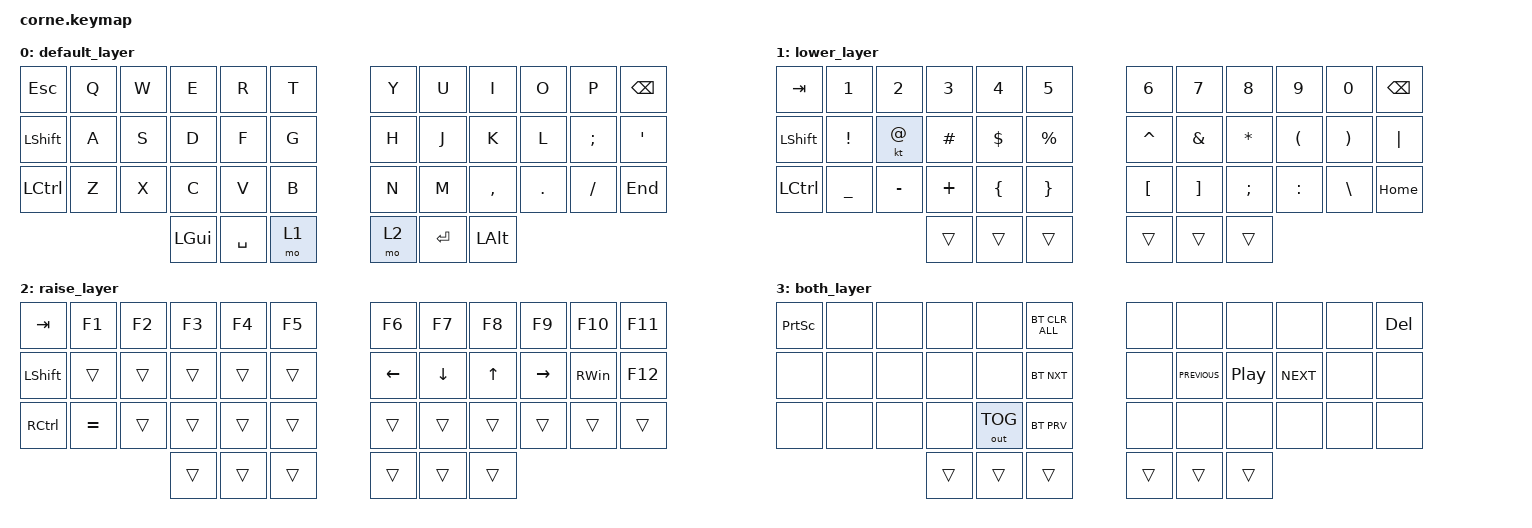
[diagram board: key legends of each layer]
/*
 * Copyright (c) 2020 The ZMK Contributors
 *
 * SPDX-License-Identifier: MIT
 */

#include <behaviors.dtsi>
#include <dt-bindings/zmk/bt.h>
#include <dt-bindings/zmk/keys.h>
#include <dt-bindings/zmk/outputs.h>

/ {
    combos { compatible = "zmk,combos"; };

    behaviors {
        ss_hs_modmorph: ss_hs_modmorph {
            compatible = "zmk,behavior-mod-morph";
            label = "SS_HS_MODMORPH";
            bindings = <&kp M>, <&kp RIGHT_BRACKET>;

            #binding-cells = <0>;
            mods = <(MOD_LSFT|MOD_RSFT)>;
        };

        kh_hs_tapdance: kh_hs_tapdance {
            compatible = "zmk,behavior-tap-dance";
            label = "KH_HS_TAPDANCE";
            #binding-cells = <0>;
            tapping-term-ms = <200>;
            bindings = <&kp LEFT_BRACKET>, <&kp RIGHT_BRACKET>;
        };

        hrm: hrm {
            compatible = "zmk,behavior-hold-tap";
            #binding-cells = <2>;
            flavor = "tap-preferred";
            tapping-term-ms = <200>;
            quick-tap-ms = <200>;
            require-prior-idle-ms = <125>;
            bindings = <&kp>, <&kp>;
        };
    };

    macros {
        lang: lang {
            compatible = "zmk,behavior-macro";
            #binding-cells = <0>;
            bindings =
                <&macro_press>,
                <&kp LEFT_GUI>,
                <&macro_tap>,
                <&kp SPACE>,
                <&macro_release>,
                <&kp LALT>;

            label = "LANG";
        };

        minecraftTooltipls: minecraftTooltipls {
            compatible = "zmk,behavior-macro";
            #binding-cells = <0>;
            bindings =
                <&macro_press>,
                <&kp F3>,
                <&macro_tap>,
                <&kp H>,
                <&macro_release>,
                <&kp F3>;

            label = "MINECRAFTTOOLTIPLS";
        };

        minecraftInformator: minecraftInformator {
            compatible = "zmk,behavior-macro";
            #binding-cells = <0>;
            bindings =
                <&macro_press>,
                <&kp F3>,
                <&macro_tap>,
                <&kp I>,
                <&macro_release>,
                <&kp F3>;

            label = "MINECRAFTINFORMATOR";
        };

        minecraftChatPurge: minecraftChatPurge {
            compatible = "zmk,behavior-macro";
            #binding-cells = <0>;
            bindings =
                <&macro_press>,
                <&kp F3>,
                <&macro_tap>,
                <&kp D>,
                <&macro_release>,
                <&kp F3>;

            label = "MINECRAFTCHATPURGE";
        };

        minecraftChunks: minecraftChunks {
            compatible = "zmk,behavior-macro";
            #binding-cells = <0>;
            bindings =
                <&macro_press>,
                <&kp F3>,
                <&macro_tap>,
                <&kp G>,
                <&macro_release>,
                <&kp F3>;

            label = "MINECRAFTCHUNKS";
        };

        minecraftHitboxes: minecraftHitboxes {
            compatible = "zmk,behavior-macro";
            #binding-cells = <0>;
            bindings =
                <&macro_press>,
                <&kp F3>,
                <&macro_tap>,
                <&kp B>,
                <&macro_release>,
                <&kp F3>;

            label = "MINECRAFTHITBOXES";
        };

        checkProjectIDE: checkProjectIDE {
            compatible = "zmk,behavior-macro";
            #binding-cells = <0>;
            bindings = <&macro_tap>, <&kp LCTRL &kp LSHFT &kp LALT &kp I>;

            label = "CHECKPROJECTIDE";
        };
    };

    keymap {
        compatible = "zmk,keymap";

        default_layer {
            // -----------------------------------------------------------------------------------------
            // |  TAB |  Q  |  W  |  E  |  R  |  T  |   |  Y  |  U   |  I  |  O  |  P  | BKSP |
            // | CTRL |  A  |  S  |  D  |  F  |  G  |   |  H  |  J   |  K  |  L  |  ;  |  '   |
            // | SHFT |  Z  |  X  |  C  |  V  |  B  |   |  N  |  M   |  ,  |  .  |  /  | ESC  |
            //                    | GUI | LWR | SPC |   | ENT | RSE  | ALT |

            bindings = <
&kp ESC         &kp Q  &kp W  &kp E     &kp R      &kp T    &kp Y  &kp U      &kp I         &kp O    &kp P     &kp BSPC
&kp LEFT_SHIFT  &kp A  &kp S  &kp D     &kp F      &kp G    &kp H  &kp J      &kp K         &kp L    &kp SEMI  &kp SQT
&kp LCTRL       &kp Z  &kp X  &kp C     &kp V      &kp B    &kp N  &kp M      &kp COMMA     &kp DOT  &kp FSLH  &kp END
                              &kp LGUI  &kp SPACE  &mo 1    &mo 2  &kp ENTER  &kp LEFT_ALT
            >;
        };

        lower_layer {
            // -----------------------------------------------------------------------------------------
            // |  TAB |  1  |  2  |  3  |  4  |  5  |   |  6  |  7  |  8  |  9  |  0  | BKSP |
            // | BTCLR| BT1 | BT2 | BT3 | BT4 | BT5 |   | LFT | DWN |  UP | RGT |     |      |
            // | SHFT |     |     |     |     |     |   |     |     |     |     |     |      |
            //                    | GUI |     | SPC |   | ENT |     | ALT |

            bindings = <
&kp TAB         &kp N1          &kp N2     &kp N3    &kp N4          &kp N5             &kp N6            &kp N7             &kp N8    &kp N9                &kp N0                 &kp BSPC
&kp LEFT_SHIFT  &kp EXCL        &kt AT     &kp HASH  &kp DOLLAR      &kp PERCENT        &kp CARET         &kp AMPERSAND      &kp STAR  &kp LEFT_PARENTHESIS  &kp RIGHT_PARENTHESIS  &kp PIPE
&kp LCTRL       &kp UNDERSCORE  &kp MINUS  &kp PLUS  &kp LEFT_BRACE  &kp RIGHT_BRACE    &kp LEFT_BRACKET  &kp RIGHT_BRACKET  &kp SEMI  &kp COLON             &kp BACKSLASH          &kp HOME
                                           &trans    &trans          &trans             &trans            &trans             &trans
            >;
        };

        raise_layer {
            // -----------------------------------------------------------------------------------------
            // |  TAB |  !  |  @  |  #  |  $  |  %  |   |  ^  |  &  |  *  |  (  |  )  | BKSP |
            // | CTRL |     |     |     |     |     |   |  -  |  =  |  [  |  ]  |  \  |  `   |
            // | SHFT |     |     |     |     |     |   |  _  |  +  |  {  |  }  | "|" |  ~   |
            //                    | GUI |     | SPC |   | ENT |     | ALT |

            bindings = <
&kp TAB         &kp F1     &kp F2  &kp F3  &kp F4  &kp F5    &kp F6    &kp F7    &kp F8  &kp F9     &kp F10        &kp F11
&kp LEFT_SHIFT  &trans     &trans  &trans  &trans  &trans    &kp LEFT  &kp DOWN  &kp UP  &kp RIGHT  &kp RIGHT_WIN  &kp F12
&kp RCTRL       &kp EQUAL  &trans  &trans  &trans  &trans    &trans    &trans    &trans  &trans     &trans         &trans
                                   &trans  &trans  &trans    &trans    &trans    &trans
            >;
        };

        both_layer {
            bindings = <
&kp PRINTSCREEN  &none  &none  &none   &none         &bt BT_CLR_ALL    &none   &none           &none             &none       &none  &kp DELETE
&none            &none  &none  &none   &none         &bt BT_NXT        &none   &kp C_PREVIOUS  &kp C_PLAY_PAUSE  &kp C_NEXT  &none  &none
&none            &none  &none  &none   &out OUT_TOG  &bt BT_PRV        &none   &none           &none             &none       &none  &none
                               &trans  &trans        &trans            &trans  &trans          &trans
            >;
        };
    };

    conditional_layers {
        compatible = "zmk,conditional-layers";

        bothees {
            if-layers = <1 2>;
            then-layer = <3>;
        };
    };
};
